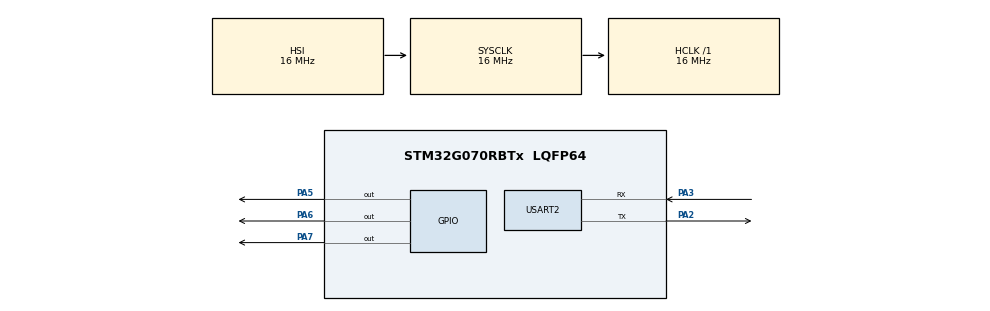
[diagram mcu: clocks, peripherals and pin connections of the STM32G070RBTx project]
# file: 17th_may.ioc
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Mcu.Family=STM32G0
Mcu.Name=STM32G070RBTx
Mcu.Package=LQFP64
NVIC.TIM3_IRQn=true\:3\:0\:false\:false\:true\:false\:true\:true
NVIC.TimeBase=TIM3_IRQn
NVIC.TimeBaseIP=TIM3
PA13.Mode=Serial_Wire
PA13.Signal=SYS_SWDIO
PA14-BOOT0.Mode=Serial_Wire
PA14-BOOT0.Signal=SYS_SWCLK
PA2.Mode=Asynchronous
PA2.Signal=USART2_TX
PA3.Mode=Asynchronous
PA3.Signal=USART2_RX
PA5.Signal=GPIO_Output
PA6.Signal=GPIO_Output
PA7.Signal=GPIO_Output
PC14-OSC32_IN\ (PC14).Mode=LSE-External-Oscillator
PC14-OSC32_IN\ (PC14).Signal=RCC_OSC32_IN
PC15-OSC32_OUT\ (PC15).Mode=LSE-External-Oscillator
PC15-OSC32_OUT\ (PC15).Signal=RCC_OSC32_OUT
PF0-OSC_IN\ (PF0).Mode=HSE-External-Clock-Source
PF0-OSC_IN\ (PF0).Signal=RCC_OSC_IN
ProjectManager.HeapSize=0x200
ProjectManager.StackSize=0x400
ProjectManager.TargetToolchain=STM32CubeIDE
RCC.AHBFreq_Value=16000000
RCC.CortexFreq_Value=16000000
RCC.EXTERNAL_CLOCK_VALUE=12288000
RCC.HCLKFreq_Value=16000000
RCC.HSE_VALUE=8000000
RCC.HSI_VALUE=16000000
RCC.SYSCLKFreq_VALUE=16000000
RCC.VCOOutputFreq_Value=128000000
USART2.VirtualMode-Asynchronous=VM_ASYNC
VP_SYS_VS_tim3.Mode=TIM3
board=NUCLEO-G070RB

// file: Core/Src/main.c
/* USER CODE BEGIN Header */
/**
  ******************************************************************************
  * @file           : main.c
  * @brief          : Main program body
  ******************************************************************************
  * @attention
  *
  * Copyright (c) 2023 STMicroelectronics.
  * All rights reserved.
  *
  * This software is licensed under terms that can be found in the LICENSE file
  * in the root directory of this software component.
  * If no LICENSE file comes with this software, it is provided AS-IS.
  *
  ******************************************************************************
  */
/* USER CODE END Header */
#include "main.h"

/* USER CODE BEGIN Includes */
#include "FreeRTOS.h"
#include "task.h"

/* USER CODE END Includes */

UART_HandleTypeDef huart2;

/* USER CODE BEGIN PV */
TaskHandle_t t1, t2, t3;

/* USER CODE END PV */

void SystemClock_Config(void);
static void MX_GPIO_Init(void);
static void MX_USART2_UART_Init(void);
/* USER CODE BEGIN PFP */
static void task1(void *p);
static void task2(void *p);
static void task3(void *p);

/* USER CODE END PFP */

/* USER CODE BEGIN 0 */
void delay(unsigned int a)
{
	int i, j;
	for(i=0;i<a;i++)
		for(j=0;j<1000;j++);
}

void transmit1 (void)
{
	uint8_t data[] = "HELLO TASK1\r\n";
	HAL_UART_Transmit(&huart2, data, sizeof(data), 1000);
}

void transmit2 (void)
{
	uint8_t data[] = "HELLO TASK2\r\n";
	HAL_UART_Transmit(&huart2, data, sizeof(data), 1000);
}

void transmit3 (void)
{
	uint8_t data[] = "HELLO TASK3\r\n";
	HAL_UART_Transmit(&huart2, data, sizeof(data), 1000);
}

static void task1(void *p)
{
	while(1)
	{
		HAL_GPIO_TogglePin(GPIOA,GPIO_PIN_5);
				//delay(1000);
		transmit1();
		vTaskDelay(3000);

		//vTaskResume(t2);
	}
}

static void task2(void *p)
{
	while(1)
	{
		HAL_GPIO_TogglePin(GPIOA,GPIO_PIN_6);
				//delay(1000);
		transmit2();
		vTaskDelay(3000);
	}
}

static void task3(void *p)
{
	while(1)
	{
		HAL_GPIO_TogglePin(GPIOA,GPIO_PIN_7);
		//delay(1000);
		transmit3();
		vTaskDelay(3000);

		//vTaskResume(t1);
	}
}

/* USER CODE END 0 */

int main(void)
{

  /* MCU Configuration--------------------------------------------------------*/

  /* Reset of all peripherals, Initializes the Flash interface and the Systick. */
  HAL_Init();

  /* Configure the system clock */
  SystemClock_Config();

  /* Initialize all configured peripherals */
  MX_GPIO_Init();
  MX_USART2_UART_Init();
  /* USER CODE BEGIN 2 */
  xTaskCreate(task1,"T1", 200, NULL,1, &t1);
  xTaskCreate(task2,"T2", 200, NULL,1, &t2);
  xTaskCreate(task3,"T3", 200, NULL,1, &t3);

  //vTaskSuspend(t1);
  //vTaskSuspend(t2);

  vTaskStartScheduler();

  /* USER CODE END 2 */

  /* Infinite loop */
  while (1)
  {

  }
}

void SystemClock_Config(void)
{
  RCC_OscInitTypeDef RCC_OscInitStruct = {0};
  RCC_ClkInitTypeDef RCC_ClkInitStruct = {0};

  /** Configure the main internal regulator output voltage
  */
  HAL_PWREx_ControlVoltageScaling(PWR_REGULATOR_VOLTAGE_SCALE1);

  /** Initializes the RCC Oscillators according to the specified parameters
  * in the RCC_OscInitTypeDef structure.
  */
  RCC_OscInitStruct.OscillatorType = RCC_OSCILLATORTYPE_HSI;
  RCC_OscInitStruct.HSIState = RCC_HSI_ON;
  RCC_OscInitStruct.HSIDiv = RCC_HSI_DIV1;
  RCC_OscInitStruct.HSICalibrationValue = RCC_HSICALIBRATION_DEFAULT;
  RCC_OscInitStruct.PLL.PLLState = RCC_PLL_NONE;
  if (HAL_RCC_OscConfig(&RCC_OscInitStruct) != HAL_OK)
  {
    Error_Handler();
  }

  /** Initializes the CPU, AHB and APB buses clocks
  */
  RCC_ClkInitStruct.ClockType = RCC_CLOCKTYPE_HCLK|RCC_CLOCKTYPE_SYSCLK
                              |RCC_CLOCKTYPE_PCLK1;
  RCC_ClkInitStruct.SYSCLKSource = RCC_SYSCLKSOURCE_HSI;
  RCC_ClkInitStruct.AHBCLKDivider = RCC_SYSCLK_DIV1;
  RCC_ClkInitStruct.APB1CLKDivider = RCC_HCLK_DIV1;

  if (HAL_RCC_ClockConfig(&RCC_ClkInitStruct, FLASH_LATENCY_0) != HAL_OK)
  {
    Error_Handler();
  }
}

static void MX_USART2_UART_Init(void)
{

  huart2.Instance = USART2;
  huart2.Init.BaudRate = 115200;
  huart2.Init.WordLength = UART_WORDLENGTH_8B;
  huart2.Init.StopBits = UART_STOPBITS_1;
  huart2.Init.Parity = UART_PARITY_NONE;
  huart2.Init.Mode = UART_MODE_TX_RX;
  huart2.Init.HwFlowCtl = UART_HWCONTROL_NONE;
  huart2.Init.OverSampling = UART_OVERSAMPLING_16;
  huart2.Init.OneBitSampling = UART_ONE_BIT_SAMPLE_DISABLE;
  huart2.Init.ClockPrescaler = UART_PRESCALER_DIV1;
  huart2.AdvancedInit.AdvFeatureInit = UART_ADVFEATURE_NO_INIT;
  if (HAL_UART_Init(&huart2) != HAL_OK)
  {
    Error_Handler();
  }
  if (HAL_UARTEx_SetTxFifoThreshold(&huart2, UART_TXFIFO_THRESHOLD_1_8) != HAL_OK)
  {
    Error_Handler();
  }
  if (HAL_UARTEx_SetRxFifoThreshold(&huart2, UART_RXFIFO_THRESHOLD_1_8) != HAL_OK)
  {
    Error_Handler();
  }
  if (HAL_UARTEx_DisableFifoMode(&huart2) != HAL_OK)
  {
    Error_Handler();
  }

}

static void MX_GPIO_Init(void)
{
  GPIO_InitTypeDef GPIO_InitStruct = {0};

  /* GPIO Ports Clock Enable */
  __HAL_RCC_GPIOC_CLK_ENABLE();
  __HAL_RCC_GPIOF_CLK_ENABLE();
  __HAL_RCC_GPIOA_CLK_ENABLE();

  /*Configure GPIO pin Output Level */
  HAL_GPIO_WritePin(GPIOA, GPIO_PIN_5|GPIO_PIN_6|GPIO_PIN_7, GPIO_PIN_RESET);

  /*Configure GPIO pins : PA5 PA6 PA7 */
  GPIO_InitStruct.Pin = GPIO_PIN_5|GPIO_PIN_6|GPIO_PIN_7;
  GPIO_InitStruct.Mode = GPIO_MODE_OUTPUT_PP;
  GPIO_InitStruct.Pull = GPIO_NOPULL;
  GPIO_InitStruct.Speed = GPIO_SPEED_FREQ_LOW;
  HAL_GPIO_Init(GPIOA, &GPIO_InitStruct);

}

void HAL_TIM_PeriodElapsedCallback(TIM_HandleTypeDef *htim)
{
  if (htim->Instance == TIM3) {
    HAL_IncTick();
  }
}

void Error_Handler(void)
{
  __disable_irq();
  while (1)
  {
  }
}
